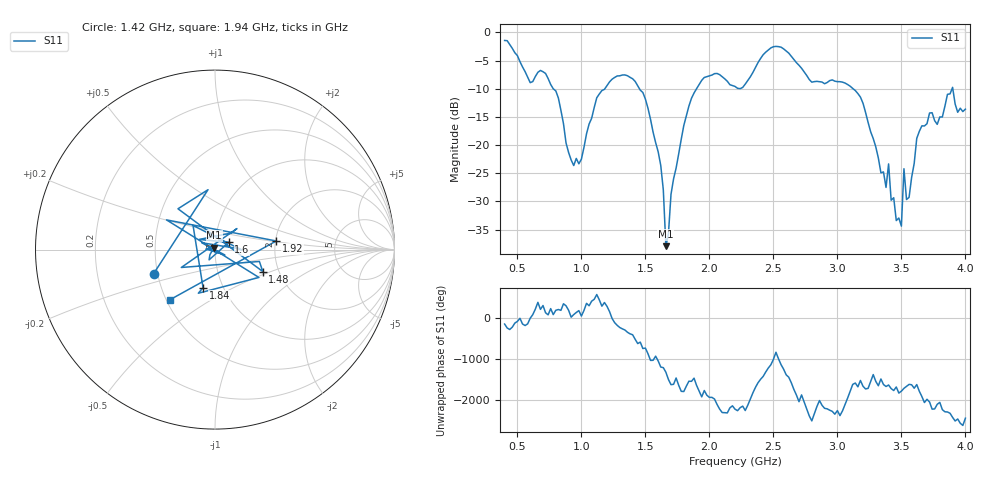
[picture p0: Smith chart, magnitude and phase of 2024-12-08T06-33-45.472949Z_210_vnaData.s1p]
!Created with skrf (http://scikit-rf.org).
# Hz S RI R 50.0
!freq ReS11 ImS11
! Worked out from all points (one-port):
!   181 points, 400 MHz to 4 GHz, reference 50 ohm
!   lowest |S11| = -37.9 dB at 1.66 GHz (marker M1), VSWR 1.03, Z = 49.5 + j1.16 ohm
!   |S11| at or under -10 dB: 779.8 MHz to 1.183 GHz (403.4 MHz wide, 41.1 % of centre); 1.453 GHz to 1.9 GHz (446.1 MHz wide, 26.6 % of centre); 3.122 GHz to 3.896 GHz (773.4 MHz wide, 22 % of centre) (the widest 3 of 4)
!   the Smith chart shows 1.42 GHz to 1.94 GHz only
!   S11 on the Smith chart (normalised r, x): 1.42 GHz: 0.48, -0.15; 1.48 GHz: 1.65, -0.44; 1.6 GHz: 1.16, +0.10; 1.84 GHz: 0.80, -0.36; 1.92 GHz: 2.02, +0.22; 1.94 GHz: 0.52, -0.34
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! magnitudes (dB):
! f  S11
! 400 MHz  -1.4
! 720 MHz  -7.3
! 860 MHz  -16.2
! 980 MHz  -23.3
! 1.12 GHz  -11.6
! 1.3 GHz  -7.7
! 1.42 GHz  -8.7
! 1.48 GHz  -10.7
! 1.6 GHz  -21.2
! 1.64 GHz  -28.0
! 1.66 GHz  -37.9
! 1.76 GHz  -21.6
! 1.84 GHz  -13.1
! 1.92 GHz  -9.3
! 1.94 GHz  -8.5
! 2.2 GHz  -9.6
! 2.66 GHz  -4.8
! 3.1 GHz  -9.6
! 3.38 GHz  -27.5
! 3.4 GHz  -23.3
! 3.46 GHz  -33.4
! 3.5 GHz  -34.4
! 3.52 GHz  -24.2
! 3.56 GHz  -29.3
! 3.62 GHz  -18.8
! 3.72 GHz  -14.3
! 3.9 GHz  -9.8
! 4 GHz  -13.6
